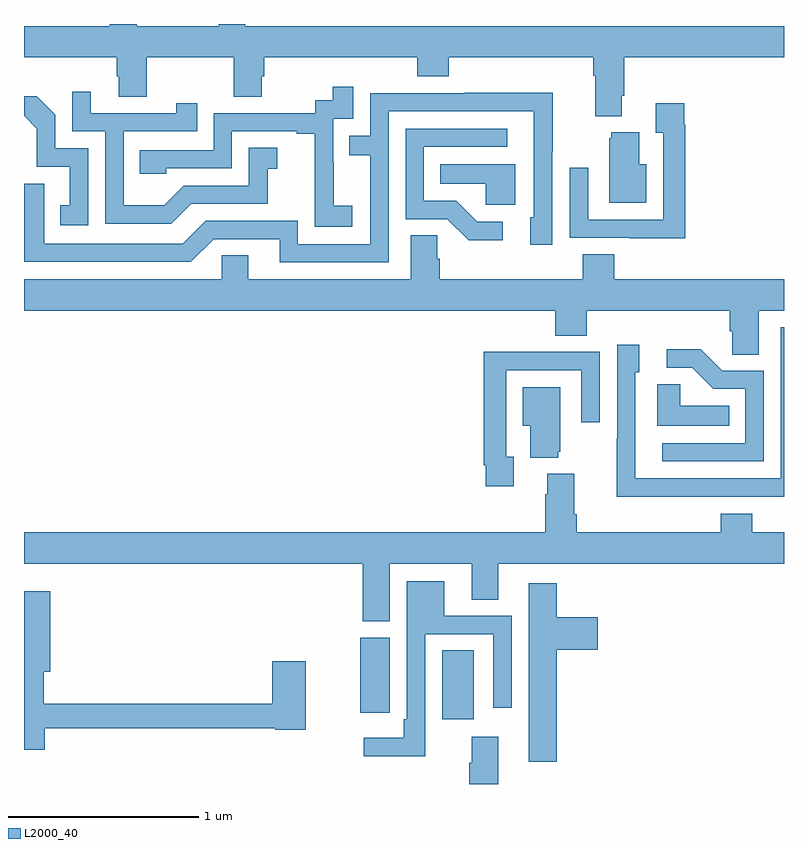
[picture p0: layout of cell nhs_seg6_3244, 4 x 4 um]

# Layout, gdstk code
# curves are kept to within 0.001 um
import gdstk
lib = gdstk.Library(unit=1e-6, precision=1e-09)
def R(c, l, rs):  # rectangles x0, y0, x1, y1
    for r in rs: c.add(gdstk.rectangle(r[:2], r[2:], *l))
def P(c, l, *ps):  # polygons
    for p in ps: c.add(gdstk.Polygon(p, *l))
L2000_40 = (2000, 40)

nhs_seg6_3244 = lib.new_cell('nhs_seg6_3244')
R(nhs_seg6_3244, L2000_40, [(303.2,955.842,303.367,956.204)])
P(nhs_seg6_3244, L2000_40, [(304.147,959.122),(304.16,959.122),(304.16,959.324),(305,959.324),(305,959.488),(302.164,959.488),(302.164,959.5),(302.024,959.5),(302.024,959.488),(301.594,959.488),(301.594,959.5),(301.451,959.5),(301.451,959.488),(301,959.488),(301,959.324),(301.487,959.324),(301.487,959.226),(301.499,959.226),(301.499,959.116),(301.647,959.116),(301.647,959.324),(302.104,959.324),(302.104,959.116),(302.251,959.116),(302.251,959.226),(302.264,959.226),(302.264,959.324),(303.071,959.324),(303.071,959.225),(303.236,959.225),(303.236,959.324),(303.995,959.324),(303.995,959.228),(304.007,959.228),(304.007,959.015),(304.147,959.015)],
  [(302.728,958.543),(302.63,958.543),(302.63,958.772),(302.628,958.772),(302.628,959.001),(302.733,959.001),(302.733,959.17),(302.625,959.17),(302.625,959.1),(302.532,959.1),(302.532,959.031),(301.998,959.031),(301.998,958.836),(301.609,958.836),(301.609,958.713),(301.749,958.713),(301.749,958.74),(302.094,958.74),(302.094,958.935),(302.435,958.935),(302.435,958.923),(302.531,958.923),(302.531,958.639),(302.53,958.639),(302.53,958.433),(302.728,958.433)],
  [(301.879,958.554),(302.283,958.554),(302.283,958.739),(302.332,958.739),(302.332,958.849),(302.184,958.849),(302.184,958.65),(301.842,958.65),(301.738,958.546),(301.524,958.546),(301.524,958.935),(301.913,958.935),(301.913,959.083),(301.802,959.083),(301.802,959.031),(301.351,959.031),(301.351,959.143),(301.254,959.143),(301.254,958.935),(301.428,958.935),(301.428,958.449),(301.774,958.449)],
  [(302.919,959.04),(303.683,959.04),(303.684,958.482),(303.665,958.482),(303.665,958.338),(303.78,958.338),(303.78,958.831),(303.783,958.831),(303.783,959.138),(303.319,959.138),(303.319,959.136),(302.823,959.136),(302.823,958.911),(302.713,958.911),(302.713,958.81),(302.823,958.81),(302.823,958.341),(302.442,958.341),(302.442,958.464),(301.956,958.464),(301.836,958.344),(301.107,958.344),(301.107,958.659),(301,958.659),(301,958.248),(301.878,958.248),(301.998,958.368),(302.345,958.368),(302.345,958.245),(302.919,958.245)],
  [(301.338,958.845),(301.164,958.845),(301.164,959.022),(301.066,959.12),(301,959.12),(301,959.018),(301.068,958.95),(301.068,958.749),(301.241,958.749),(301.241,958.545),(301.192,958.545),(301.192,958.44),(301.338,958.44)],
  [(304.481,958.97),(304.474,958.97),(304.474,959.083),(304.325,959.083),(304.325,958.927),(304.365,958.927),(304.365,958.47),(303.969,958.47),(303.969,958.744),(303.873,958.744),(303.873,958.374),(304.189,958.374),(304.189,958.373),(304.481,958.373)],
  [(303.52,958.458),(303.385,958.458),(303.274,958.569),(303.105,958.569),(303.105,958.854),(303.544,958.854),(303.544,958.95),(303.009,958.95),(303.009,958.473),(303.228,958.473),(303.341,958.361),(303.52,958.361)],
  [(304.276,958.762),(304.237,958.762),(304.237,958.93),(304.091,958.93),(304.091,958.899),(304.079,958.899),(304.079,958.559),(304.276,958.559)],
  [(303.586,958.762),(303.19,958.762),(303.19,958.658),(303.429,958.658),(303.429,958.55),(303.586,958.55)],
  [(304.867,957.992),(305,957.992),(305,958.156),(304.106,958.156),(304.106,958.289),(303.941,958.289),(303.941,958.156),(303.188,958.156),(303.188,958.265),(303.174,958.265),(303.174,958.388),(303.035,958.388),(303.035,958.156),(302.179,958.156),(302.179,958.283),(302.04,958.283),(302.04,958.156),(301,958.156),(301,957.992),(303.797,957.992),(303.797,957.859),(303.962,957.859),(303.962,957.992),(304.715,957.992),(304.715,957.883),(304.728,957.883),(304.728,957.76),(304.867,957.76)],
  [(304.583,957.012),(305,957.012),(305,957.903),(304.983,957.903),(304.983,957.108),(304.218,957.108),(304.218,957.666),(304.237,957.666),(304.237,957.811),(304.122,957.811),(304.122,957.317),(304.12,957.317),(304.12,957.011),(304.583,957.011)],
  [(304.893,957.675),(304.674,957.675),(304.561,957.788),(304.383,957.788),(304.383,957.69),(304.517,957.69),(304.628,957.579),(304.797,957.579),(304.797,957.294),(304.359,957.294),(304.359,957.198),(304.893,957.198)],
  [(303.577,957.222),(303.537,957.222),(303.537,957.678),(303.933,957.678),(303.933,957.405),(304.029,957.405),(304.029,957.774),(303.713,957.774),(303.713,957.776),(303.421,957.776),(303.421,957.178),(303.429,957.178),(303.429,957.066),(303.577,957.066)],
  [(304.712,957.49),(304.455,957.49),(304.455,957.605),(304.334,957.605),(304.334,957.386),(304.712,957.386)],
  [(303.812,957.249),(303.823,957.249),(303.823,957.589),(303.626,957.589),(303.626,957.386),(303.665,957.386),(303.665,957.218),(303.812,957.218)],
  [(302.926,956.66),(303.356,956.66),(303.356,956.47),(303.496,956.47),(303.496,956.66),(305,956.66),(305,956.824),(304.832,956.824),(304.832,956.923),(304.667,956.923),(304.667,956.824),(303.908,956.824),(303.908,956.92),(303.895,956.92),(303.895,957.133),(303.755,957.133),(303.755,957.026),(303.743,957.026),(303.743,956.824),(301,956.824),(301,956.66),(302.783,956.66),(302.783,956.356),(302.926,956.356)],
  [(303.111,956.289),(303.471,956.289),(303.471,955.902),(303.567,955.902),(303.567,956.385),(303.211,956.385),(303.211,956.566),(303.015,956.566),(303.015,955.84),(302.999,955.84),(302.999,955.744),(302.787,955.744),(302.787,955.646),(303.111,955.646)],
  [(303.803,956.207),(304.021,956.207),(304.021,956.377),(303.803,956.377),(303.803,956.557),(303.656,956.557),(303.656,955.617),(303.803,955.617)],
  [(301.109,955.794),(302.322,955.794),(302.322,955.786),(302.484,955.786),(302.484,956.146),(302.306,956.146),(302.306,955.922),(301.105,955.922),(301.105,956.09),(301.139,956.09),(301.139,956.515),(301,956.515),(301,955.68),(301.109,955.68)],
  [(302.925,955.987),(302.926,955.987),(302.926,956.271),(302.77,956.271),(302.77,955.875),(302.925,955.875)],
  [(303.496,955.75),(303.356,955.75),(303.356,955.613),(303.344,955.613),(303.344,955.5),(303.496,955.5)])

lib.write_gds('nhs_seg6_3244.gds')
